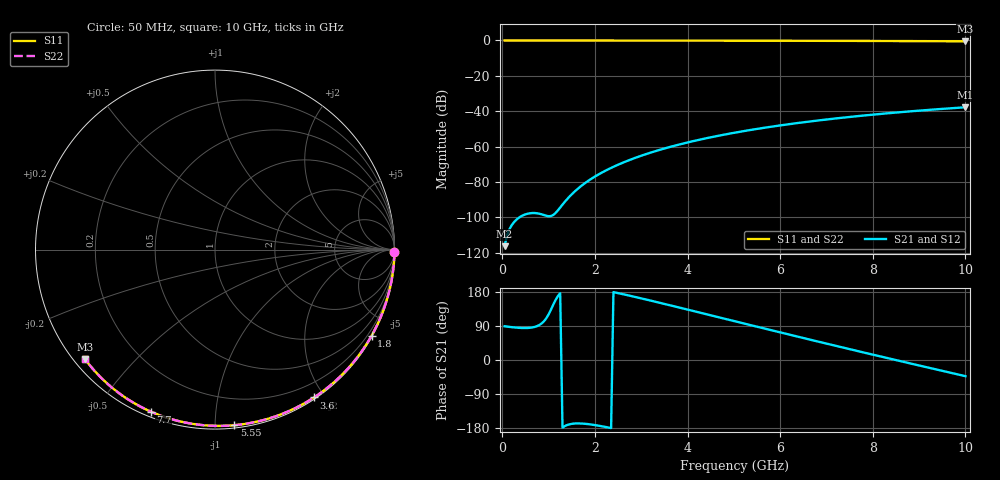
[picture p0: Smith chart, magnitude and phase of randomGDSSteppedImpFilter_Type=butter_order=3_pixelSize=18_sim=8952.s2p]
! freq	dB(S11)	phase(S11)	dB(S12)	phase(S12)
!  dB(S21)	phase(S21)	dB(S22)	phase(S22)
!S-par simulation data
#  GHz  S  DB  R 50
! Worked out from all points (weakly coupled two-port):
!   200 points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, 50 MHz to 10 GHz, reference 50 ohm
!   highest |S21| = -37.79 dB at 10 GHz (marker M1); lowest = -116.3 dB at 50 MHz (marker M2)
!   lowest |S11| = -0.5 dB at 10 GHz (marker M3), VSWR 36.67, Z = 1.54 - j18.2 ohm
!   |S11| at or under -10 dB: nowhere
!   |S22| runs from -0.5 to 0.0 dB; largest |S21 - S12| = 0
!   S11 on the Smith chart (normalised r, x): 50 MHz: open; 1.8 GHz: 0.03, -3.90; 3.6 GHz: 0.02, -1.87; 5.55 GHz: 0.02, -1.12; 7.7 GHz: 0.02, -0.68; 10 GHz: 0.03, -0.36
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0.05  -0.00 -0.8  -116.33 89.1  -116.33 89.1  -0.00 -0.8
0.45  -0.01 -7.3  -98.86 84.4  -98.86 84.4  -0.01 -7.3
0.9  -0.02 -14.5  -98.74 102.2  -98.74 102.2  -0.02 -14.5
1.75  -0.04 -28.0  -81.36 -168.0  -81.36 -168.0  -0.04 -28.0
1.8  -0.04 -28.8  -80.39 -168.5  -80.39 -168.5  -0.04 -28.8
1.85  -0.04 -29.6  -79.48 -169.2  -79.48 -169.2  -0.04 -29.6
2.05  -0.04 -32.7  -76.19 -172.7  -76.19 -172.7  -0.04 -32.7
2.2  -0.04 -35.0  -74.03 -176.0  -74.03 -176.0  -0.04 -35.0
2.55  -0.05 -40.4  -69.70 175.2  -69.70 175.2  -0.05 -40.4
2.95  -0.06 -46.5  -65.64 164.1  -65.64 164.1  -0.06 -46.5
3.4  -0.07 -53.2  -61.85 151.0  -61.85 151.0  -0.07 -53.2
3.6  -0.08 -56.2  -60.37 145.1  -60.37 145.1  -0.08 -56.2
3.9  -0.08 -60.6  -58.32 136.1  -58.32 136.1  -0.08 -60.6
4.3  -0.09 -66.3  -55.89 124.0  -55.89 124.0  -0.09 -66.3
5.05  -0.12 -76.9  -52.01 101.4  -52.01 101.4  -0.12 -76.9
5.55  -0.14 -83.7  -49.81 86.4  -49.81 86.4  -0.14 -83.7
6.1  -0.16 -91.1  -47.68 69.9  -47.68 69.9  -0.16 -91.1
6.7  -0.19 -99.0  -45.63 52.1  -45.63 52.1  -0.19 -98.9
7.7  -0.26 -111.7  -42.72 22.8  -42.72 22.8  -0.26 -111.7
8.35  -0.31 -119.8  -41.11 4.1  -41.11 4.1  -0.31 -119.8
9.2  -0.39 -130.2  -39.27 -20.1  -39.27 -20.1  -0.39 -130.2
10  -0.47 -140.0  -37.79 -42.7  -37.79 -42.7  -0.47 -140.0
